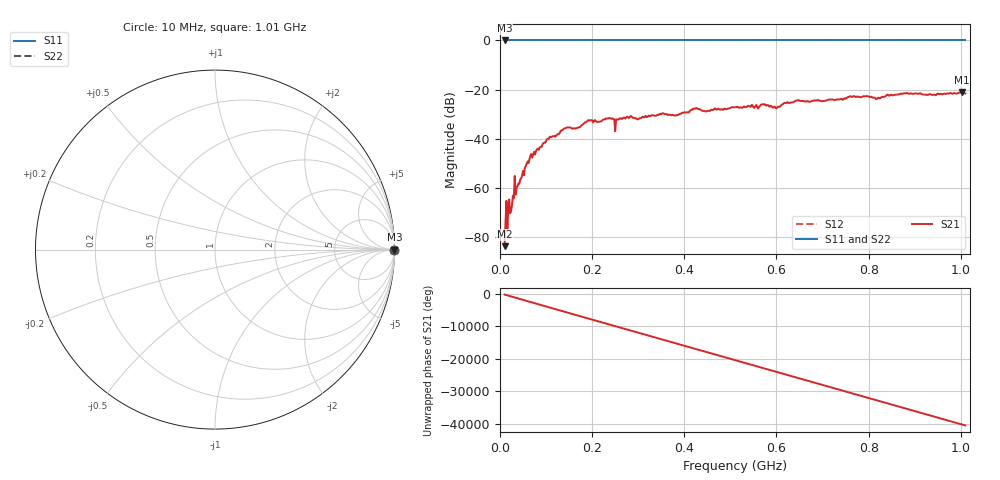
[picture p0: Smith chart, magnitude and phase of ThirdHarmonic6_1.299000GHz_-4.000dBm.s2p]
! 8/16/2025 2:16:19 PM
! C:\ANRITSUVNA\TEMP\TEMP.S2P
! CHANNEL.1
! TR.MEASUREMENT
! RAW.DATA
! RF.CORRECTION.OFF
! AVERAGING.OFF
! IF.BANDWIDTH: 5KHZ
! SWEEPTYPE:  FREQ.SWEEP(Linear)
! Reference Plane Port Info
! PORT:  PORT1  PORT2
! DISTANCE:  0  m  0  m
! TIME:  0  s  0  s
! PHASE.OFFSET:  0  deg.  0  deg.
! LOSS:  0  dB  0  dB
! REF.LOSS:  0  dB  0  dB
! REF.FREQ:  0  Hz  0  Hz
! Power Info
! POWER:  -20  dBm  -20  dBm
! EFF.POWER:  -20  dBm  -20  dBm
! SOURCE.ATTEN:  0  dB  0  dB
! TEST.ATTEN:  0  dB  0  dB
# GHZ S RI R 50.0
! FREQ.GHZ  S11RE  S11IM  S21RE  S21IM  S12RE  S12IM  S22RE  S22IM
!; PortSelection: Port_12
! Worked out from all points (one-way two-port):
!   501 points, 10 MHz to 1.01 GHz, reference 50 ohm
!   highest |S21| = -21.10 dB at 1.002 GHz (marker M1); lowest = -83.7 dB at 10 MHz (marker M2)
!   lowest |S11| = 0.0 dB at 10 MHz (marker M3)
!   |S11| at or under -10 dB: nowhere
!   |S22| runs from 0.0 to 0.0 dB; largest |S21 - S12| = 1.1
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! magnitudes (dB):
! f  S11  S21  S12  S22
! 10 MHz  0.0  -83.7  0.0  0.0
! 12 MHz  0.0  -73.7  0.0  0.0
! 16 MHz  0.0  -76.5  0.0  0.0
! 20 MHz  0.0  -64.7  0.0  0.0
! 26 MHz  0.0  -67.0  0.0  0.0
! 28 MHz  0.0  -63.1  0.0  0.0
! 36 MHz  0.0  -59.7  0.0  0.0
! 38 MHz  0.0  -59.4  0.0  0.0
! 70 MHz  0.0  -47.7  0.0  0.0
! 136 MHz  0.0  -36.4  0.0  0.0
! 178 MHz  0.0  -34.3  0.0  0.0
! 194 MHz  0.0  -32.6  0.0  0.0
! 240 MHz  0.0  -31.7  0.0  0.0
! 254 MHz  0.0  -32.2  0.0  0.0
! 344 MHz  0.0  -30.3  0.0  0.0
! 510 MHz  0.0  -27.2  0.0  0.0
! 602 MHz  0.0  -27.2  0.0  0.0
! 644 MHz  0.0  -24.4  0.0  0.0
! 678 MHz  0.0  -24.6  0.0  0.0
! 844 MHz  0.0  -22.5  0.0  0.0
! 1.002 GHz  0.0  -21.1  0.0  0.0
! 1.01 GHz  0.0  -21.6  0.0  0.0
